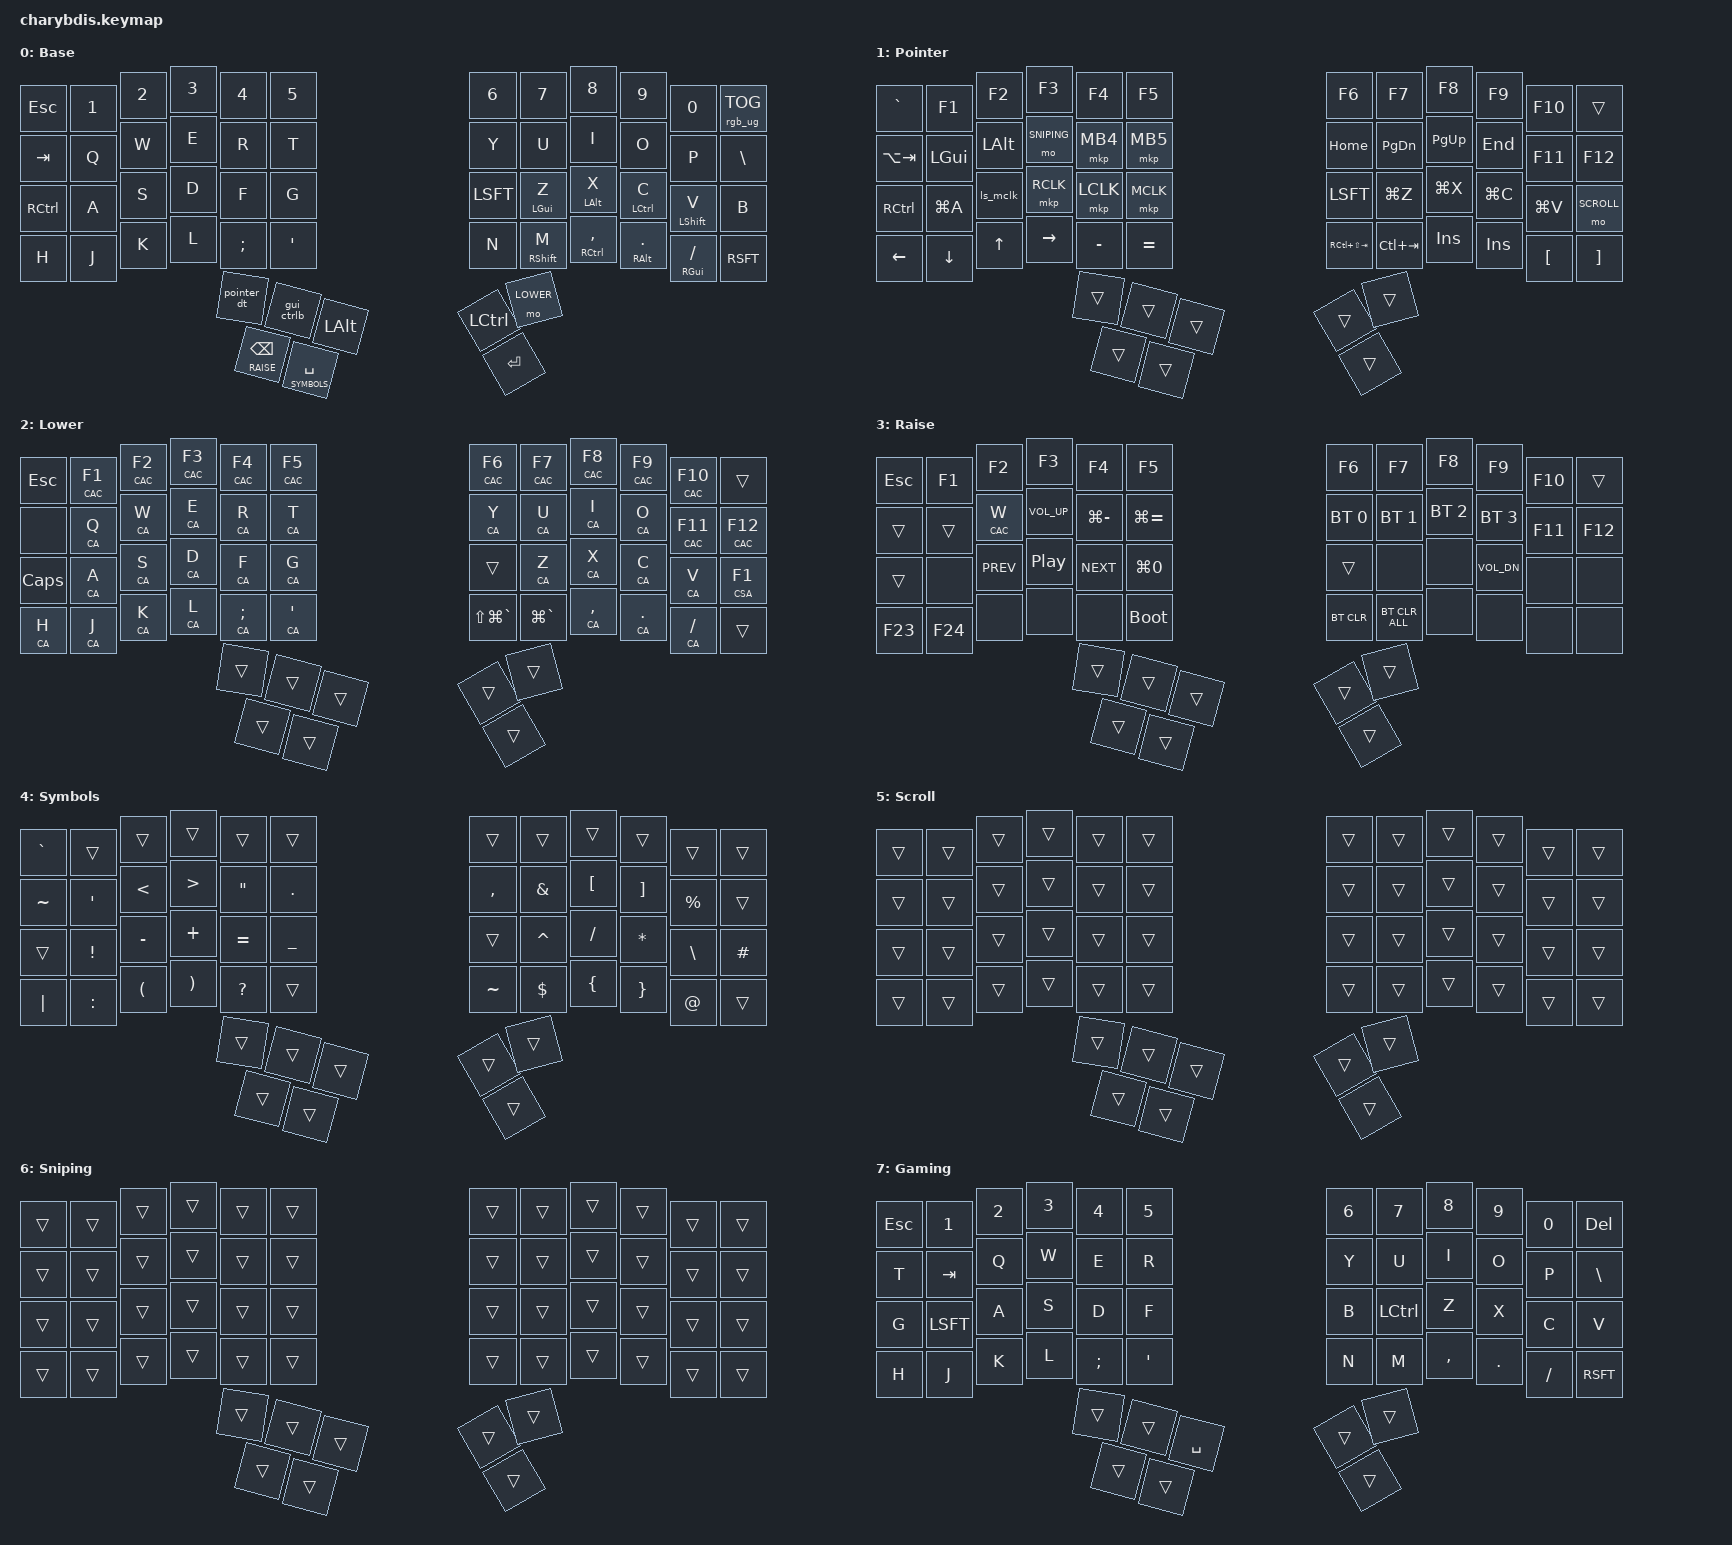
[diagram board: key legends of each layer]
#include <dt-bindings/zmk/mouse.h>
#include <behaviors/mouse_keys.dtsi>
#include <behaviors.dtsi>
#include <dt-bindings/zmk/bt.h>
#include <dt-bindings/zmk/keys.h>
#include <dt-bindings/zmk/outputs.h>
#include <dt-bindings/zmk/pointing.h>
#include <dt-bindings/zmk/rgb.h>

/ {
    chosen { zmk,physical-layout = &charybdis_physical_layout; };
};

&mt {
    quick-tap-ms = <200>;
    flavor = "tap-preferred";
    tapping-term-ms = <170>;
};

&lt {
    quick-tap-ms = <200>;
    flavor = "tap-preferred";
    tapping-term-ms = <170>;
};

// Layer definitions
#define BASE 0
#define POINTER 1
#define LOWER 2
#define RAISE 3
#define SYMBOLS 4
#define SCROLL 5
#define SNIPING 6
#define GAMING 7

/ {
  behaviors {
    // Hold-tap behavior for layer with tap-preferred
    blt: blt {
      compatible = "zmk,behavior-hold-tap";
      #binding-cells = <2>;
      flavor = "tap-preferred";
      tapping-term-ms = <200>;
      quick-tap-ms = <300>;
      require-prior-idle-ms = <100>;
      bindings = <&mo>, <&kp>;
    };

    // Tap-dance for GUI/Ctrl+B
    gui_ctrlb: gui_ctrlb {
      compatible = "zmk,behavior-tap-dance";
      #binding-cells = <0>;
      tapping-term-ms = <200>;
      bindings = <&kp LGUI>, <&kp LC(B)>;
    };

    // Hold: POINTER layer. Double-tap: Ctrl+Shift+Alt+Cmd+Y
    pointer_dt: pointer_dt {
      compatible = "zmk,behavior-tap-dance";
      #binding-cells = <0>;
      tapping-term-ms = <200>;
      bindings = <&mo POINTER>, <&kp LC(LS(Z))>;
    };

    // Home row mods - Left hand
    hml: home_row_mod_left {
      compatible = "zmk,behavior-hold-tap";
      #binding-cells = <2>;
      flavor = "balanced";
      require-prior-idle-ms = <150>;
      tapping-term-ms = <280>;
      quick-tap-ms = <175>;
      bindings = <&kp>, <&kp>;
      hold-trigger-key-positions = <6 7 8 9 10 11 18 19 20 21 22 23 30 31 32 33 34 35 42 43 44 45 46 47 53 54 55>; // Right side keys
      hold-trigger-on-release;
    };

    // Home row mods - Right hand
    hmr: home_row_mod_right {
      compatible = "zmk,behavior-hold-tap";
      #binding-cells = <2>;
      flavor = "balanced";
      require-prior-idle-ms = <150>;
      tapping-term-ms = <280>;
      quick-tap-ms = <175>;
      bindings = <&kp>, <&kp>;
      hold-trigger-key-positions = <0 1 2 3 4 5 12 13 14 15 16 17 24 25 26 27 28 29 36 37 38 39 40 41 48 49 50 51 52>; // Left side keys
      hold-trigger-on-release;
    };
  };

  macros {
    // Ctrl+Alt+Cmd macro
    CAC: CAC {
      compatible = "zmk,behavior-macro-one-param";
      #binding-cells = <1>;
      bindings
        = <&macro_press &kp LCTRL &kp LALT &kp LGUI>
        , <&macro_param_1to1>
        , <&macro_tap &kp MACRO_PLACEHOLDER>
        , <&macro_release &kp LCTRL &kp LALT &kp LGUI>
        ;
    };

    // Ctrl+Shift+Alt macro
    CSA: CSA {
      compatible = "zmk,behavior-macro-one-param";
      #binding-cells = <1>;
      bindings
        = <&macro_press &kp LCTRL &kp LSHIFT &kp LALT>
        , <&macro_param_1to1>
        , <&macro_tap &kp MACRO_PLACEHOLDER>
        , <&macro_release &kp LCTRL &kp LSHIFT &kp LALT>
        ;
    };

    // Ctrl+Alt macro
    CA: CA {
      compatible = "zmk,behavior-macro-one-param";
      #binding-cells = <1>;
      bindings
        = <&macro_press &kp LCTRL &kp LALT>
        , <&macro_param_1to1>
        , <&macro_tap &kp MACRO_PLACEHOLDER>
        , <&macro_release &kp LCTRL &kp LALT>
        ;
    };

    // Shift+Middle Click macro
    ls_mclk: ls_mclk {
      compatible = "zmk,behavior-macro";
      wait-ms = <0>;
      tap-ms = <10>;
      #binding-cells = <0>;
      bindings
        = <&macro_press &kp LSHIFT>
        , <&macro_tap &mkp MCLK>
        , <&macro_release &kp LSHIFT>
        ;
    };
  };

  combos {
    compatible = "zmk,combos";
    timeout-ms = <20>;
    require-prior-idle-ms = <250>;

    // Studio Unlock Combo - all three right thumb keys
    combo_studio_unlock {
      timeout-ms = <50>;
      key-positions = <51 52 55>;
      bindings = <&studio_unlock>;
    };

    // Gaming layer toggle combo - keys 49, 55, 54
    combo_gaming_toggle {
      timeout-ms = <50>;
      key-positions = <49 55 54>;
      bindings = <&tog GAMING>;
    };

  };

  keymap {
    compatible = "zmk,keymap";

// ╭─────────────┬─────────────┬─────────────┬─────────────┬─────────────┬─────────────╮   ╭─────────────┬─────────────┬─────────────┬─────────────┬─────────────┬─────────────╮
//    0             1             2             3             4             5                 6             7             8             9            10            11
// ├─────────────┼─────────────┼─────────────┼─────────────┼─────────────┼─────────────┤   ├─────────────┼─────────────┼─────────────┼─────────────┼─────────────┼─────────────┤
//   12            13            14            15            16            17                18            19            20            21            22            23
// ├─────────────┼─────────────┼─────────────┼─────────────┼─────────────┼─────────────┤   ├─────────────┼─────────────┼─────────────┼─────────────┼─────────────┼─────────────┤
//   24            25            26            27            28            29                30            31            32            33            34            35
// ├─────────────┼─────────────┼─────────────┼─────────────┼─────────────┼─────────────┤   ├─────────────┼─────────────┼─────────────┼─────────────┼─────────────┼─────────────┤
//   36            37            38            39            40            41                42            43            44            45            46            47
// ╰─────────────┴─────────────┴─────────────┴─────────────┴─────────────┴─────────────╯   ╰─────────────┴─────────────┴─────────────┴─────────────┴─────────────┴─────────────╯
//                                          ╭─────────────┬─────────────┬─────────────╮    ╭─────────────┬─────────────╮
//                                             48           49            50                 51            52
//                                          ╰─────────────┼─────────────┼─────────────┤    ├─────────────┼─────────────╯
//                                                          53            54                 55
//                                                        ╰─────────────┴─────────────╯    ╰─────────────╯

    base_layer {
      display-name = "Base";
      bindings = <
// ╭─────────────┬─────────────┬─────────────┬─────────────┬─────────────┬─────────────╮   ╭─────────────┬─────────────┬─────────────┬─────────────┬─────────────┬─────────────╮
    &kp ESC       &kp N1        &kp N2        &kp N3        &kp N4        &kp N5            &kp N6        &kp N7        &kp N8        &kp N9        &kp N0        &rgb_ug RGB_TOG
// ├─────────────┼─────────────┼─────────────┼─────────────┼─────────────┼─────────────┤   ├─────────────┼─────────────┼─────────────┼─────────────┼─────────────┼─────────────┤
    &kp TAB       &kp Q         &kp W         &kp E         &kp R         &kp T             &kp Y         &kp U         &kp I         &kp O         &kp P         &kp BSLH
// ├─────────────┼─────────────┼─────────────┼─────────────┼─────────────┼─────────────┤   ├─────────────┼─────────────┼─────────────┼─────────────┼─────────────┼─────────────┤
    &kp RCTRL     &kp A         &kp S         &kp D         &kp F         &kp G             &kp H         &kp J         &kp K         &kp L         &kp SEMI      &kp SQT
// ├─────────────┼─────────────┼─────────────┼─────────────┼─────────────┼─────────────┤   ├─────────────┼─────────────┼─────────────┼─────────────┼─────────────┼─────────────┤
    &kp LSFT      &hml LGUI Z   &hml LALT X   &hml LCTRL C  &hml LSHIFT V &kp B             &kp N         &hmr RSHIFT M &hmr RCTRL COMMA &hmr RALT DOT &hmr RGUI FSLH &kp RSFT
// ╰─────────────┴─────────────┴─────────────┴─────────────┴─────────────┴─────────────╯   ╰─────────────┴─────────────┴─────────────┴─────────────┴─────────────┴─────────────╯
//               ╭─────────────┬─────────────┬─────────────┬─────────────┬─────────────╮   ╭─────────────┬─────────────┬─────────────╮
                                                     
//               ╰─────────────┴─────────────┴─────────────┴─────────────┴─────────────╯   ╰─────────────┴─────────────┴─────────────╯
//                                          ╭─────────────┬─────────────┬─────────────╮    ╭─────────────┬─────────────╮
                                             &pointer_dt   &gui_ctrlb    &kp LALT           &blt RAISE BSPC &blt SYMBOLS SPACE
//                                          ╰─────────────┼─────────────┼─────────────┤    ├─────────────┼─────────────╯
                                                           &kp LCTRL     &mo LOWER          &kp RET
//                                                        ╰─────────────┴─────────────╯    ╰─────────────╯
      >;
    };

    pointer_layer {
      display-name = "Pointer";
      bindings = <
// ╭─────────────┬─────────────┬─────────────┬─────────────┬─────────────┬─────────────╮   ╭─────────────┬─────────────┬─────────────┬─────────────┬─────────────┬─────────────╮
    &kp GRAVE     &kp F1        &kp F2        &kp F3        &kp F4        &kp F5            &kp F6        &kp F7        &kp F8        &kp F9        &kp F10       &trans
// ├─────────────┼─────────────┼─────────────┼─────────────┼─────────────┼─────────────┤   ├─────────────┼─────────────┼─────────────┼─────────────┼─────────────┼─────────────┤
    &kp LA(TAB)   &kp LGUI      &kp LALT      &mo SNIPING   &mkp MB4      &mkp MB5          &kp HOME      &kp PG_DN     &kp PG_UP     &kp END       &kp F11       &kp F12
// ├─────────────┼─────────────┼─────────────┼─────────────┼─────────────┼─────────────┤   ├─────────────┼─────────────┼─────────────┼─────────────┼─────────────┼─────────────┤
    &kp RCTRL     &kp LG(A)     &ls_mclk      &mkp RCLK     &mkp LCLK     &mkp MCLK         &kp LEFT      &kp DOWN      &kp UP        &kp RIGHT     &kp MINUS     &kp EQUAL
// ├─────────────┼─────────────┼─────────────┼─────────────┼─────────────┼─────────────┤   ├─────────────┼─────────────┼─────────────┼─────────────┼─────────────┼─────────────┤
    &kp LSFT      &kp LG(Z)     &kp LG(X)     &kp LG(C)     &kp LG(V)     &mo SCROLL        &kp RC(LS(TAB)) &kp LC(TAB) &kp INS       &kp INS       &kp LBKT      &kp RBKT
// ╰─────────────┴─────────────┴─────────────┴─────────────┴─────────────┴─────────────╯   ╰─────────────┴─────────────┴─────────────┴─────────────┴─────────────┴─────────────╯
//               ╭─────────────┬─────────────┬─────────────┬─────────────┬─────────────╮   ╭─────────────┬─────────────┬─────────────╮
                  &trans        &trans        &trans        &trans        &trans            &trans        &trans        &trans
//               ╰─────────────┴─────────────┴─────────────┴─────────────┴─────────────╯   ╰─────────────┴─────────────┴─────────────╯
      >;
    };

    lower_layer {
      display-name = "Lower";
      bindings = <
// ╭─────────────┬─────────────┬─────────────┬─────────────┬─────────────┬─────────────╮   ╭─────────────┬─────────────┬─────────────┬─────────────┬─────────────┬─────────────╮
    &kp ESC       &CAC F1       &CAC F2       &CAC F3       &CAC F4       &CAC F5           &CAC F6       &CAC F7       &CAC F8       &CAC F9       &CAC F10      &trans
// ├─────────────┼─────────────┼─────────────┼─────────────┼─────────────┼─────────────┤   ├─────────────┼─────────────┼─────────────┼─────────────┼─────────────┼─────────────┤
    &none         &CA Q         &CA W         &CA E         &CA R         &CA T             &CA Y         &CA U         &CA I         &CA O         &CAC F11      &CAC F12
// ├─────────────┼─────────────┼─────────────┼─────────────┼─────────────┼─────────────┤   ├─────────────┼─────────────┼─────────────┼─────────────┼─────────────┼─────────────┤
    &kp CAPS      &CA A         &CA S         &CA D         &CA F         &CA G             &CA H         &CA J         &CA K         &CA L         &CA SEMI      &CA SQT
// ├─────────────┼─────────────┼─────────────┼─────────────┼─────────────┼─────────────┤   ├─────────────┼─────────────┼─────────────┼─────────────┼─────────────┼─────────────┤
    &trans        &CA Z         &CA X         &CA C         &CA V         &CSA F1           &kp LS(LG(GRAVE)) &kp LG(GRAVE) &CA COMMA     &CA DOT       &CA FSLH      &trans
// ╰─────────────┴─────────────┴─────────────┴─────────────┴─────────────┴─────────────╯   ╰─────────────┴─────────────┴─────────────┴─────────────┴─────────────┴─────────────╯
//               ╭─────────────┬─────────────┬─────────────┬─────────────┬─────────────╮   ╭─────────────┬─────────────┬─────────────╮
                  &trans        &trans        &trans        &trans        &trans            &trans        &trans        &trans
//               ╰─────────────┴─────────────┴─────────────┴─────────────┴─────────────╯   ╰─────────────┴─────────────┴─────────────╯
      >;
    };

    raise_layer {
      display-name = "Raise";
      bindings = <
// ╭─────────────┬─────────────┬─────────────┬─────────────┬─────────────┬─────────────╮   ╭─────────────┬─────────────┬─────────────┬─────────────┬─────────────┬─────────────╮
    &kp ESC       &kp F1        &kp F2        &kp F3        &kp F4        &kp F5            &kp F6        &kp F7        &kp F8        &kp F9        &kp F10       &trans
// ├─────────────┼─────────────┼─────────────┼─────────────┼─────────────┼─────────────┤   ├─────────────┼─────────────┼─────────────┼─────────────┼─────────────┼─────────────┤
    &trans        &trans       &CAC W        &kp C_VOL_UP  &kp LG(MINUS) &kp LG(EQUAL)     &bt BT_SEL 0  &bt BT_SEL 1  &bt BT_SEL 2  &bt BT_SEL 3  &kp F11       &kp F12
// ├─────────────┼─────────────┼─────────────┼─────────────┼─────────────┼─────────────┤   ├─────────────┼─────────────┼─────────────┼─────────────┼─────────────┼─────────────┤
    &trans        &none         &kp C_PREV    &kp C_PP      &kp C_NEXT    &kp LG(N0)        &kp F23       &kp F24       &none         &none         &none         &bootloader
// ├─────────────┼─────────────┼─────────────┼─────────────┼─────────────┼─────────────┤   ├─────────────┼─────────────┼─────────────┼─────────────┼─────────────┼─────────────┤
    &trans        &none         &none         &kp C_VOL_DN  &none         &none             &bt BT_CLR    &bt BT_CLR_ALL &none        &none         &none         &none
// ╰─────────────┴─────────────┴─────────────┴─────────────┴─────────────┴─────────────╯   ╰─────────────┴─────────────┴─────────────┴─────────────┴─────────────┴─────────────╯
//               ╭─────────────┬─────────────┬─────────────┬─────────────┬─────────────╮   ╭─────────────┬─────────────┬─────────────╮
                    &trans        &trans        &trans        &trans        &trans            &trans        &trans        &trans
//               ╰─────────────┴─────────────┴─────────────┴─────────────┴─────────────╯   ╰─────────────┴─────────────┴─────────────╯
      >;
    };

    symbols_layer {
      display-name = "Symbols";
      bindings = <
// ╭─────────────┬─────────────┬─────────────┬─────────────┬─────────────┬─────────────╮   ╭─────────────┬─────────────┬─────────────┬─────────────┬─────────────┬─────────────╮
    &kp GRAVE     &trans        &trans        &trans        &trans        &trans            &trans        &trans        &trans        &trans        &trans        &trans
// ├─────────────┼─────────────┼─────────────┼─────────────┼─────────────┼─────────────┤   ├─────────────┼─────────────┼─────────────┼─────────────┼─────────────┼─────────────┤
    &kp TILDE     &kp SQT       &kp LT        &kp GT        &kp DQT       &kp DOT           &kp COMMA     &kp AMPS      &kp LBKT      &kp RBKT      &kp PRCNT     &trans
// ├─────────────┼─────────────┼─────────────┼─────────────┼─────────────┼─────────────┤   ├─────────────┼─────────────┼─────────────┼─────────────┼─────────────┼─────────────┤
    &trans        &kp EXCL      &kp MINUS     &kp PLUS      &kp EQUAL     &kp UNDER         &kp PIPE      &kp COLON     &kp LPAR      &kp RPAR      &kp QMARK     &trans
// ├─────────────┼─────────────┼─────────────┼─────────────┼─────────────┼─────────────┤   ├─────────────┼─────────────┼─────────────┼─────────────┼─────────────┼─────────────┤
    &trans        &kp CARET     &kp FSLH      &kp ASTRK     &kp BSLH      &kp HASH          &kp TILDE     &kp DLLR      &kp LBRC      &kp RBRC      &kp AT        &trans
// ╰─────────────┴─────────────┴─────────────┴─────────────┴─────────────┴─────────────╯   ╰─────────────┴─────────────┴─────────────┴─────────────┴─────────────┴─────────────╯
//               ╭─────────────┬─────────────┬─────────────┬─────────────┬─────────────╮   ╭─────────────┬─────────────┬─────────────╮
                    &trans        &trans        &trans        &trans        &trans            &trans        &trans        &trans
//               ╰─────────────┴─────────────┴─────────────┴─────────────┴─────────────╯   ╰─────────────┴─────────────┴─────────────╯
      >;
    };

    scroll_layer {
      display-name = "Scroll";
      bindings = <
// ╭─────────────┬─────────────┬─────────────┬─────────────┬─────────────┬─────────────╮   ╭─────────────┬─────────────┬─────────────┬─────────────┬─────────────┬─────────────╮
    &trans        &trans        &trans        &trans        &trans        &trans            &trans        &trans        &trans        &trans        &trans        &trans
// ├─────────────┼─────────────┼─────────────┼─────────────┼─────────────┼─────────────┤   ├─────────────┼─────────────┼─────────────┼─────────────┼─────────────┼─────────────┤
    &trans        &trans        &trans        &trans        &trans        &trans            &trans        &trans        &trans        &trans        &trans        &trans
// ├─────────────┼─────────────┼─────────────┼─────────────┼─────────────┼─────────────┤   ├─────────────┼─────────────┼─────────────┼─────────────┼─────────────┼─────────────┤
    &trans        &trans        &trans        &trans        &trans        &trans            &trans        &trans        &trans        &trans        &trans        &trans
// ├─────────────┼─────────────┼─────────────┼─────────────┼─────────────┼─────────────┤   ├─────────────┼─────────────┼─────────────┼─────────────┼─────────────┼─────────────┤
    &trans        &trans        &trans        &trans        &trans        &trans            &trans        &trans        &trans        &trans        &trans        &trans
// ╰─────────────┴─────────────┴─────────────┴─────────────┴─────────────┴─────────────╯   ╰─────────────┴─────────────┴─────────────┴─────────────┴─────────────┴─────────────╯
//               ╭─────────────┬─────────────┬─────────────┬─────────────┬─────────────╮   ╭─────────────┬─────────────┬─────────────╮
                    &trans        &trans        &trans        &trans        &trans            &trans        &trans        &trans
//               ╰─────────────┴─────────────┴─────────────┴─────────────┴─────────────╯   ╰─────────────┴─────────────┴─────────────╯
      >;
    };

    sniping_layer {
      display-name = "Sniping";
      bindings = <
// ╭─────────────┬─────────────┬─────────────┬─────────────┬─────────────┬─────────────╮   ╭─────────────┬─────────────┬─────────────┬─────────────┬─────────────┬─────────────╮
    &trans        &trans        &trans        &trans        &trans        &trans            &trans        &trans        &trans        &trans        &trans        &trans
// ├─────────────┼─────────────┼─────────────┼─────────────┼─────────────┼─────────────┤   ├─────────────┼─────────────┼─────────────┼─────────────┼─────────────┼─────────────┤
    &trans        &trans        &trans        &trans        &trans        &trans            &trans        &trans        &trans        &trans        &trans        &trans
// ├─────────────┼─────────────┼─────────────┼─────────────┼─────────────┼─────────────┤   ├─────────────┼─────────────┼─────────────┼─────────────┼─────────────┼─────────────┤
    &trans        &trans        &trans        &trans        &trans        &trans            &trans        &trans        &trans        &trans        &trans        &trans
// ├─────────────┼─────────────┼─────────────┼─────────────┼─────────────┼─────────────┤   ├─────────────┼─────────────┼─────────────┼─────────────┼─────────────┼─────────────┤
    &trans        &trans        &trans        &trans        &trans        &trans            &trans        &trans        &trans        &trans        &trans        &trans
// ╰─────────────┴─────────────┴─────────────┴─────────────┴─────────────┴─────────────╯   ╰─────────────┴─────────────┴─────────────┴─────────────┴─────────────┴─────────────╯
//               ╭─────────────┬─────────────┬─────────────┬─────────────┬─────────────╮   ╭─────────────┬─────────────┬─────────────╮
                    &trans        &trans        &trans        &trans        &trans            &trans        &trans        &trans
//               ╰─────────────┴─────────────┴─────────────┴─────────────┴─────────────╯   ╰─────────────┴─────────────┴─────────────╯
      >;
    };

    gaming_layer {
      display-name = "Gaming";
      bindings = <
// ╭─────────────┬─────────────┬─────────────┬─────────────┬─────────────┬─────────────╮   ╭─────────────┬─────────────┬─────────────┬─────────────┬─────────────┬─────────────╮
    &kp ESC       &kp N1       &kp N2        &kp N3        &kp N4        &kp N5            &kp N6        &kp N7        &kp N8        &kp N9        &kp N0        &kp DEL
// ├─────────────┼─────────────┼─────────────┼─────────────┼─────────────┼─────────────┤   ├─────────────┼─────────────┼─────────────┼─────────────┼─────────────┼─────────────┤
    &kp T        &kp TAB       &kp Q         &kp W         &kp E         &kp R             &kp Y         &kp U         &kp I         &kp O         &kp P         &kp BSLH
// ├─────────────┼─────────────┼─────────────┼─────────────┼─────────────┼─────────────┤   ├─────────────┼─────────────┼─────────────┼─────────────┼─────────────┼─────────────┤
    &kp G        &kp LSFT      &kp A         &kp S         &kp D         &kp F             &kp H         &kp J         &kp K         &kp L         &kp SEMI      &kp SQT
// ├─────────────┼─────────────┼─────────────┼─────────────┼─────────────┼─────────────┤   ├─────────────┼─────────────┼─────────────┼─────────────┼─────────────┼─────────────┤
    &kp B        &kp LCTRL     &kp Z         &kp X         &kp C         &kp V             &kp N         &kp M         &kp COMMA     &kp DOT       &kp FSLH      &kp RSFT
// ╰─────────────┴─────────────┴─────────────┴─────────────┴─────────────┴─────────────╯   ╰─────────────┴─────────────┴─────────────┴─────────────┴─────────────┴─────────────╯
//               ╭─────────────┬─────────────┬─────────────┬─────────────┬─────────────╮   ╭─────────────┬─────────────┬─────────────╮
                  &trans        &trans        &kp SPACE     &trans        &trans            &trans        &trans        &trans
//               ╰─────────────┴─────────────┴─────────────┴─────────────┴─────────────╯   ╰─────────────┴─────────────┴─────────────╯
      >;
    };
  };
};
